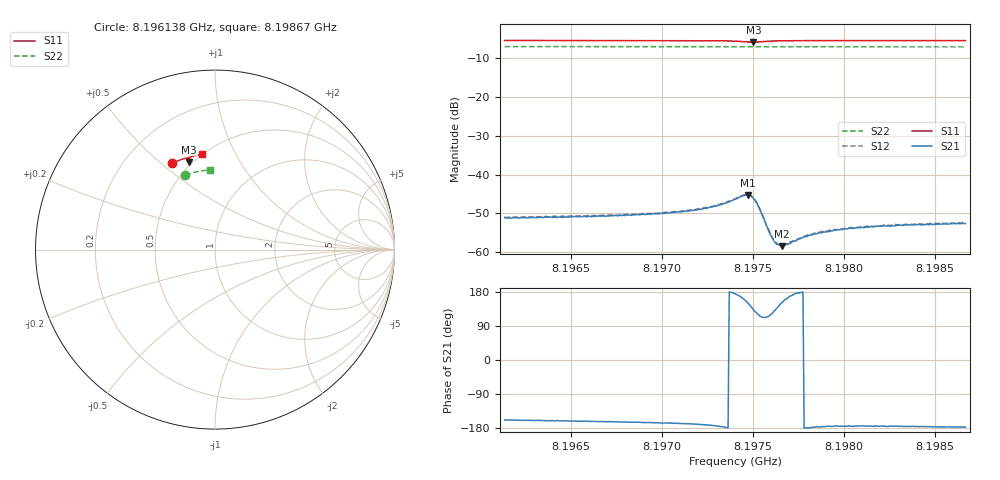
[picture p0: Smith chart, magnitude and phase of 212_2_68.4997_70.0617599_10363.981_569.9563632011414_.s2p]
#  HZ  S  RI  R  50.00
! Rohde & Schwarz Vector Network Analyzer
! Rohde-Schwarz,ZNB20-2Port,1311601062101988,3.16
! Created: UTC 3/20/2024, 5:13:12 PM
! freq[Hz]  re:S11  im:S11  re:S21  im:S21  re:S12  im:S12  re:S22  im:S22
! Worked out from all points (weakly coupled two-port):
!   401 points, 8.196138 GHz to 8.19867 GHz, reference 50 ohm
!   highest |S21| = -45.26 dB at 8.197473 GHz (marker M1); lowest = -58.5 dB at 8.197663 GHz (marker M2)
!   lowest |S11| = -5.9 dB at 8.197505 GHz (marker M3), VSWR 3.08, Z = 23.9 + j31.6 ohm
!   |S11| at or under -10 dB: nowhere
!   |S22| runs from -7.1 to -7.0 dB; largest |S21 - S12| = 0.00026
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8.1961379e9  -0.2388 0.4807  -0.0026 -0.00105  -0.00263 -0.00096  -0.165 0.4162
8.1965619e9  -0.2108 0.4932  -0.0027 -0.000917  -0.00283 -0.000825  -0.1423 0.4238
8.196986e9  -0.1813 0.5039  -0.00302 -0.00076  -0.00314 -0.000701  -0.1191 0.4303
8.1972329e9  -0.1616 0.509  -0.00359 -0.000578  -0.00367 -0.000431  -0.1056 0.4332
8.1973341e9  -0.1513 0.5096  -0.00416 -0.000281  -0.00424 -0.000128  -0.0998 0.4344
8.1974038e9  -0.1425 0.5067  -0.00477 0.000417  -0.00482 0.000631  -0.096 0.435
8.1974481e9  -0.1375 0.5004  -0.00507 0.00162  -0.00512 0.00183  -0.0935 0.4353
8.1974734e9  -0.1376 0.4945  -0.00477 0.00265  -0.00475 0.00289  -0.0922 0.4354
8.1974924e9  -0.1406 0.4903  -0.00403 0.00336  -0.00399 0.00362  -0.0912 0.4354
8.197505e9  -0.1438 0.4887  -0.00336 0.0036  -0.00331 0.00382  -0.0907 0.4355
8.1975304e9  -0.1508 0.49  -0.00199 0.00345  -0.00188 0.00359  -0.0893 0.4358
8.1975936e9  -0.1542 0.5027  -0.000794 0.00157  -0.000754 0.00167  -0.0862 0.4368
8.1976126e9  -0.1528 0.5055  -0.000837 0.00119  -0.000787 0.00127  -0.085 0.4369
8.197638e9  -0.1506 0.5083  -0.00094 0.000831  -0.000925 0.000852  -0.0837 0.4373
8.1976633e9  -0.1481 0.5105  -0.00106 0.00055  -0.00109 0.000652  -0.0821 0.4376
8.1976886e9  -0.1456 0.5122  -0.00122 0.000393  -0.0012 0.000405  -0.0806 0.4377
8.1977772e9  -0.1376 0.516  -0.00156 1.55e-05  -0.00158 7.53e-05  -0.0757 0.4385
8.1978278e9  -0.1334 0.5175  -0.00167 -8.31e-05  -0.0017 2.45e-06  -0.0729 0.4389
8.1978785e9  -0.1291 0.5189  -0.00178 -0.000123  -0.00185 -8.48e-05  -0.0699 0.4393
8.1980177e9  -0.1184 0.5216  -0.00199 -0.000171  -0.00203 -0.000137  -0.0622 0.4402
8.1982519e9  -0.1013 0.5254  -0.00216 -0.000204  -0.00219 -0.000102  -0.0491 0.4415
8.1986697e9  -0.0712 0.5299  -0.00233 -0.000114  -0.00241 -2.32e-05  -0.0252 0.4427
